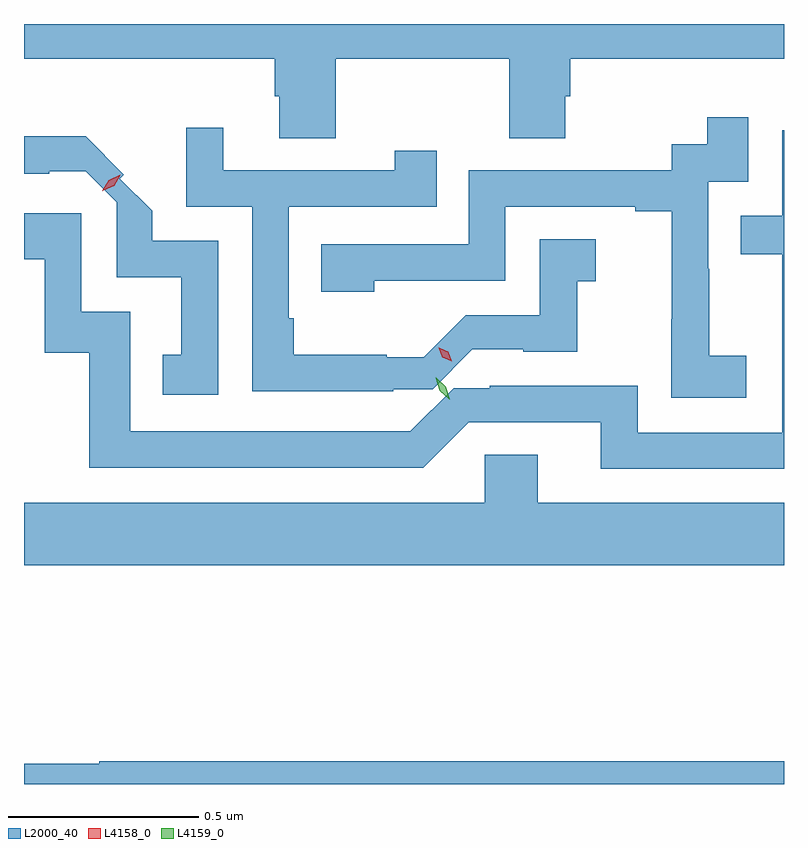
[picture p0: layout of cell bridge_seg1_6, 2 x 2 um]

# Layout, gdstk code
import gdstk
lib = gdstk.Library(unit=1e-6, precision=1e-09)
def P(c, l, *ps):  # polygons
    for p in ps: c.add(gdstk.Polygon(p, *l))
L2000_40 = (2000, 40)
L4158_0 = (4158, 0)
L4159_0 = (4159, 0)

bridge_seg1_6 = lib.new_cell('bridge_seg1_6')
P(bridge_seg1_6, L2000_40, [(861.309,509.108),(861.766,509.108),(861.766,508.9),(861.913,508.9),(861.913,509.01),(861.926,509.01),(861.926,509.108),(862.489,509.108),(862.489,509.2),(860.489,509.2),(860.489,509.108),(861.149,509.108),(861.149,509.01),(861.161,509.01),(861.161,508.9),(861.309,508.9)],
  [(862.39,508.327),(862.292,508.327),(862.292,508.556),(862.29,508.556),(862.29,508.785),(862.395,508.785),(862.395,508.954),(862.287,508.954),(862.287,508.884),(862.194,508.884),(862.194,508.815),(861.66,508.815),(861.66,508.62),(861.271,508.62),(861.271,508.496),(861.411,508.496),(861.411,508.524),(861.756,508.524),(861.756,508.719),(862.097,508.719),(862.097,508.707),(862.193,508.707),(862.193,508.423),(862.192,508.423),(862.192,508.217),(862.39,508.217)],
  [(861.461,508.239),(861.564,508.239),(861.669,508.344),(861.803,508.344),(861.803,508.338),(861.945,508.338),(861.945,508.523),(861.994,508.523),(861.994,508.633),(861.846,508.633),(861.846,508.434),(861.652,508.434),(861.541,508.323),(861.444,508.323),(861.444,508.33),(861.199,508.33),(861.199,508.426),(861.186,508.426),(861.186,508.719),(861.575,508.719),(861.575,508.867),(861.464,508.867),(861.464,508.815),(861.013,508.815),(861.013,508.927),(860.916,508.927),(860.916,508.719),(861.09,508.719),(861.09,508.233),(861.461,508.233)],
  [(862.489,508.92),(862.485,508.92),(862.485,508.695),(862.375,508.695),(862.375,508.594),(862.485,508.594),(862.485,508.125),(862.104,508.125),(862.104,508.248),(861.715,508.248),(861.715,508.242),(861.62,508.242),(861.506,508.128),(860.769,508.128),(860.769,508.443),(860.64,508.443),(860.64,508.702),(860.49,508.702),(860.49,508.581),(860.543,508.581),(860.543,508.335),(860.661,508.335),(860.661,508.032),(861.54,508.032),(861.66,508.152),(862.007,508.152),(862.007,508.029),(862.489,508.029)],
  [(861,508.629),(860.826,508.629),(860.826,508.708),(860.741,508.793),(860.751,508.803),(860.651,508.904),(860.489,508.904),(860.489,508.806),(860.555,508.806),(860.555,508.812),(860.652,508.812),(860.733,508.731),(860.733,508.533),(860.903,508.533),(860.903,508.329),(860.854,508.329),(860.854,508.224),(861,508.224)],
  [(862.489,507.94),(861.841,507.94),(861.841,508.067),(861.702,508.067),(861.702,507.94),(860.489,507.94),(860.489,507.776),(862.489,507.776)],
  [(862.489,507.26),(860.687,507.26),(860.687,507.253),(860.489,507.253),(860.489,507.2),(862.489,507.2)])
P(bridge_seg1_6, L4158_0, [(860.695,508.761),(860.695,508.761),(860.712,508.789),(860.742,508.803),(860.742,508.803),(860.742,508.802),(860.726,508.774),(860.696,508.761)],
  [(861.614,508.312),(861.59,508.323),(861.581,508.348),(861.581,508.348),(861.582,508.348),(861.605,508.337),(861.614,508.312),(861.614,508.312)])
P(bridge_seg1_6, L4159_0, [(861.608,508.212),(861.583,508.235),(861.573,508.269),(861.573,508.269),(861.574,508.269),(861.599,508.246),(861.609,508.212),(861.609,508.212)])

lib.write_gds('bridge_seg1_6.gds')
